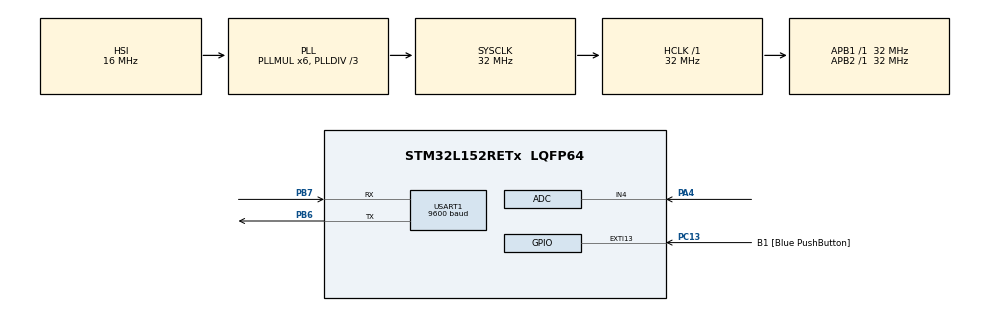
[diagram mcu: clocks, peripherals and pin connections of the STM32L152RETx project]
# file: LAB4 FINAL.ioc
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ADC.Channel-0\#ChannelRegularConversion=ADC_CHANNEL_4
ADC.NbrOfConversionFlag=1
ADC.Rank-0\#ChannelRegularConversion=1
ADC.SamplingTime-0\#ChannelRegularConversion=ADC_SAMPLETIME_4CYCLES
Mcu.Family=STM32L1
Mcu.Name=STM32L152RETx
Mcu.Package=LQFP64
NVIC.PriorityGroup=NVIC_PRIORITYGROUP_0
NVIC.USART1_IRQn=true\:0\:0\:false\:false\:true\:true\:true\:true
PA13.GPIO_Label=TMS
PA13.Mode=Serial_Wire
PA13.Signal=SYS_JTMS-SWDIO
PA14.GPIO_Label=TCK
PA14.Mode=Serial_Wire
PA14.Signal=SYS_JTCK-SWCLK
PA4.Mode=IN4
PA4.Signal=ADC_IN4
PB3.GPIO_Label=SWO
PB3.Signal=SYS_JTDO-TRACESWO
PB6.Mode=Asynchronous
PB6.Signal=USART1_TX
PB7.Mode=Asynchronous
PB7.Signal=USART1_RX
PC13-WKUP2.GPIO_Label=B1 [Blue PushButton]
PC13-WKUP2.Signal=GPXTI13
PC14-OSC32_IN.Mode=LSE-External-Oscillator
PC14-OSC32_IN.Signal=RCC_OSC32_IN
PC15-OSC32_OUT.Mode=LSE-External-Oscillator
PC15-OSC32_OUT.Signal=RCC_OSC32_OUT
PH0-OSC_IN.Mode=HSE-External-Clock-Source
PH0-OSC_IN.Signal=RCC_OSC_IN
PH1-OSC_OUT.Signal=RCC_OSC_OUT
ProjectManager.HeapSize=0x200
ProjectManager.StackSize=0x400
ProjectManager.TargetToolchain=STM32CubeIDE
RCC.48MHZClocksFreq_Value=48000000
RCC.AHBFreq_Value=32000000
RCC.APB1Freq_Value=32000000
RCC.APB1TimFreq_Value=32000000
RCC.APB2Freq_Value=32000000
RCC.APB2TimFreq_Value=32000000
RCC.HCLKFreq_Value=32000000
RCC.HSE_VALUE=8000000
RCC.HSI_VALUE=16000000
RCC.MSI_VALUE=2097000
RCC.PLLDIV=RCC_PLL_DIV3
RCC.PLLMUL=RCC_PLL_MUL6
RCC.RTCClockSelectionVirtual=RCC_RTCCLKSOURCE_LSE
RCC.SYSCLKFreq_VALUE=32000000
RCC.SYSCLKSource=RCC_SYSCLKSOURCE_PLLCLK
RCC.USBOutput=48000000
RCC.VCOOutputFreq_Value=96000000
USART1.BaudRate=9600
USART1.VirtualMode=VM_ASYNC
VP_TIM2_VS_ClockSourceINT.Mode=Internal
VP_TIM3_VS_ClockSourceINT.Mode=Internal
VP_TIM4_VS_ClockSourceINT.Mode=Internal
board=NUCLEO-L152RE

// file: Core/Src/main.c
/* USER CODE BEGIN Header */
/**
  ******************************************************************************
  * @file           : main.c
  * @brief          : Main program body
  ******************************************************************************
  * @attention
  *
  * Copyright (c) 2023 STMicroelectronics.
  * All rights reserved.
  *
  * This software is licensed under terms that can be found in the LICENSE file
  * in the root directory of this software component.
  * If no LICENSE file comes with this software, it is provided AS-IS.
  *
  ******************************************************************************
  */
/* USER CODE END Header */
#include "main.h"

/* USER CODE BEGIN PD */
#define TRIGGERPULSE 15               // 15 us trigger pulse
#define HALFSECONDPERIOD 500          // 0.5 seconds for main loop
#define NINETYDEGREETURN 480          // time it takes to turn 90º
#define HUNDREDEIGHTYDEGREETURN 970   // time it takes to turn 180º
/* USER CODE END PD */

ADC_HandleTypeDef hadc;

TIM_HandleTypeDef htim2;
TIM_HandleTypeDef htim3;
TIM_HandleTypeDef htim4;

UART_HandleTypeDef huart1;

/* USER CODE BEGIN PV */
unsigned short distance = 0;                // Distance in centimeters
unsigned short echoStartTime = 0;           // Time at which the echo is triggered
int echoTotalTime = 0;                      // Total time received by echo
unsigned short cautionMode = 0;             // The robot will decide whether to stop, continue... depending on this variable
unsigned short maxSpeed = 50;               // maxSpeed ~= DC. Maximum speed that the robot can take
unsigned short turnMode = 1;                // When the robot starts the turn sequence (<10cm): At which point the robot is
unsigned short prevTurnMode = 0;            // Also needed for the turning sequence
unsigned short tim3Time = 0;                // Stores the counter at the time the turn sequence starts

//UART VARIABLES
unsigned short globalMode = 1;              // Decide the functionality of the robot depending on the pressed button
uint8_t received[7];                        // Stores the received bit
uint8_t lineBreak[7];                       // Used to change line when transmitting
uint8_t answer[7] = {0,0,0,0,0,0,0};        // Stores the answer sent by the robot
uint8_t choose[7] = {67, 104, 111, 111, 115, 101, 32};  // Set of characters to store the sentence:
uint8_t aMode[7] = {97, 32, 109, 111, 100, 101, 32};    // Choose a mode:
/* USER CODE END PV */

void SystemClock_Config(void);
static void MX_GPIO_Init(void);
static void MX_TIM2_Init(void);
static void MX_TIM3_Init(void);
static void MX_TIM4_Init(void);
static void MX_ADC_Init(void);
static void MX_USART1_UART_Init(void);
/* USER CODE BEGIN PFP */
// Defining the functions

// Movement functions
void goForward(void);
void goBackward(void);
void forwardBrake(void);
void Stop(void);
void goRight(void);
void goLeft(void);

// Functions for transmitting
void lineBreakFunction(void);
void chooseAMode(void);
/* USER CODE END PFP */

/* USER CODE BEGIN 0 */
void lineBreakFunction(void) {      // This functions send a 10 and a 13 in ASCII
  lineBreak[0] = 10;                // 10 turns for change the current line to the lower one
  HAL_UART_Transmit(&huart1, lineBreak, 1, 10000);
  lineBreak[0] = 13;                // 13 turns for going to the beginning of the sentence
  HAL_UART_Transmit(&huart1, lineBreak, 1, 10000);
}
void chooseAMode(void) {            // The function is called when we want to transmit the sentence: "Choose a mode"
  HAL_UART_Transmit(&huart1, choose, 7, 10000);
  HAL_UART_Transmit(&huart1, aMode, 7, 10000);
}

void goForward(void) {              // Contains the necessary changes in the registers to make the robot go forward
  GPIOA->BSRR = (1 << 11)<<16;      // PA11 reset
  GPIOA->BSRR = (1 << 12)<<16;      // PA12 reset
  TIM4->CCR3 = (maxSpeed-(maxSpeed/10)); // DC set to max Speed: (50-99) => (50%-100%)
  TIM4->CCR4 = maxSpeed; // // DC set to max Speed: (50-99) => (50%-100%)
}

void goBackward(void) {             // Contains the necessary changes in the registers to make the robot go backward
  GPIOA->BSRR = (1 << 11);          // PA11 set
  GPIOA->BSRR = (1 << 12);          // PA12 set
  TIM4->CCR3 = 99-(maxSpeed-(maxSpeed/10)); // DC set to the max value the DC can take - max Speed: (0-50) => (0%-50%)
  TIM4->CCR4 = 99-maxSpeed; // DC set to the max value the DC can take - max Speed: (0-50) => (0%-50%)
}

void forwardBrake(void) {           // Contains the necessary changes in the registers to make the robot go backward
  GPIOA->BSRR = (1 << 11)<<16;      // PA11 reset
  GPIOA->BSRR = (1 << 12)<<16;      // PA12 reset
  TIM4->CCR3 = (((maxSpeed-maxSpeed/10)-35)*(distance-10)/10)+35; // Decreases as the distance also decreases
  TIM4->CCR4 = ((maxSpeed-35)*(distance-10)/10)+35;               // Decreases as the distance also decreases
}

void Stop(void) {
  GPIOA->BSRR = (1 << 11)<<16;  // PA11 reset
  GPIOA->BSRR = (1 << 12)<<16;  // PA12 reset
  TIM4->CCR3 = 0; // DC initialize to 0 (0%)
  TIM4->CCR4 = 0; // DC initialize to 0 (0%)
}

void goRight(void) {
  GPIOA->BSRR = (1 << 11);      // PA11 set
  GPIOA->BSRR = (1 << 12)<<16;  // PA12 reset
  TIM4->CCR3 = 0;               // DC initialize to 0 (0%)
  TIM4->CCR4 = 99;              // DC set to the maximum
}

void goLeft(void) {
  GPIOA->BSRR = (1 << 11)<<16;  // PA11 reset
  GPIOA->BSRR = (1 << 12);      // PA12 set
  TIM4->CCR3 = 99;              // DC set to the maximum
  TIM4->CCR4 = 0;               // DC initialize to 0 (0%)
}

void ADC1_IRQHandler(void) {
  if((ADC1->SR & (1 << 1)) != 0) {    // ADC EOC
    maxSpeed = (ADC1->DR) * (99 - 50) / (4095) + 50;  // Stores the value of the ADC: (0-4095) into maxSpeed: (50-99)
  }
  ADC1->SR = 0;     // Clear the flags
}

void TIM3_IRQHandler(void) {
  if((TIM3->SR & 0x0002) != 0) {      // TIM3 Ch1 flag
    TIM3->CCR1 += HALFSECONDPERIOD;   // Update the CCR with 0.5 seconds more

    // LAUNCH ADC
    ADC1->CR2 |= 0x40000000;          //  = 1 -> Start conversion

    // LAUNCH TRIGGER
    GPIOD->BSRR = (1 << 2);                 // Send a 1 to the trigger
    TIM2->CCR2 = TIM2->CNT + TRIGGERPULSE;  // Update counter to count 12us (15us just to have enough)
    TIM2->DIER |= (1 << 2);                 // Enable DIER Ch2

    if(globalMode == 1) {           // Decide functionality mode depending on the received BT bit
      Stop();
    }
    if(globalMode == 2) {
      goForward();
    }

    if(globalMode == 3) {
      goBackward();
    }

    if(globalMode == 4) {
      goRight();
    }

    if(globalMode == 5) {
      goLeft();
    }

    if(globalMode == 6) {         // AUTOMATIC MODE
      // DECIDE MODE
      if(cautionMode == 0) {        // CASE DISTANCE < 10 centimeters
        if(turnMode == 0) {         // Case it has finished turning or it is not turning at all
          GPIOA->BSRR = (1 << 1);   // Continuous buzzer
          Stop();                   // Stop the movement
          TIM2->DIER &= ~(1 << 1);  // Disable Echo Ch1 DIER (Echo is not detecting)
          TIM3->DIER |= (1 << 2);   // Enable TIM3 Ch2 to start turning in one direction
          TIM3->CCR2 = TIM3->CNT + HALFSECONDPERIOD;  // Update the counter to wait 0.5 seconds stopped
          turnMode = 1;             // Change the turnMode to start a turning sequence
        }
        else {
          GPIOA->BSRR = (1 << 1);   // Continuous buzzer
          Stop();                   // Stop the movement
        }
      }
      else if(cautionMode == 1) { // CASE DISTANCE >= 10cm && <= 20cm

        forwardBrake();             // Continue going forward but speed decreases as distance decreases

        if((GPIOA->ODR & (1 << 1)) != 0) {  // Intermittent sound, each 0.5 seconds:
          GPIOA->BSRR = (1 << 1)<<16;       // If the buzzer is on -> turn off
        }
        else {
          GPIOA->BSRR = (1 << 1);           // If the buzzer is off -> turn on
        }
      }
      else {                      // CASE DISTANCE > 20 centimeters
        GPIOA->BSRR = (1 << 1)<<16;     // Buzzer off
        goForward();                    // Go forward at maxSpeed

      }
    }
    received[0]=0;            // Clear the received USART bit
    TIM3->SR &= ~(0x0002);    // Clear the flags
  }

  if((TIM3->SR & 0x0004) != 0) {    // When the turning sequence starts (<10cm and 0.5 seconds have passed)

      if(prevTurnMode == 4) {       // Change the turning depending on the previous step
        turnMode = 2;
      }
      else if(prevTurnMode == 2) {
        turnMode = 3;
      }
      else if(prevTurnMode == 3) {
        turnMode = 4;
      }
      prevTurnMode = turnMode;      // Update the previous turn mode
      tim3Time = TIM3->CNT;         // Store the counter value in order to make the robot turn only the time we want
      TIM3->DIER &= ~(1 << 2);      // Disables this channel
      TIM3->SR &= ~(0x0004);        // Clear the flags

  }
}

void TIM2_IRQHandler(void) {

  // TRIGGER (CHANNEL 2)
  if((TIM2->SR & 0x0004) != 0) {      // TIM2 CHANNEL  2 (Trigger when 15us have passed)
    GPIOD->BSRR = (1 << 2) << 16;     // Trigger -> 0   (Reset the trigger)
    TIM2->DIER &= ~(1 << 2);          // Disable DIER Ch2
    TIM2->SR &= ~(0x0004);            // Clear the flag
  }

  // ECHO (CHANNEL 1)
  if((TIM2->SR & 0x0002) != 0) {      // TIM2 CHANNEL  1  (Echo when receives the reply signal rising and falling edge)

    if((GPIOA->IDR&(1 << 5)) != 0) {  // Checks whether is the Echo is high (rising edge is received)
      echoStartTime = TIM2->CCR1;       // Store the time to calculate later the total time
    }
    else {                            // or low (falling edge is received)
      echoTotalTime = TIM2->CCR1 - echoStartTime;     // Calculate the time that has passed from the rising to the falling edge
      if(echoTotalTime < 0) echoTotalTime += 0xFFFF;  // Rearrange the variable if it turns to be negative
      distance = (echoTotalTime) / 90;                // Apply formula to calculate the distance
      // Decide buzzer Mode
      if(distance < 10) {     // Decide how the robot will work depending on the distance. If distance < 10:
        cautionMode = 0;      // Stop and start the sequence mode
        turnMode = 0;
        uint8_t answer[7] = {60, 32, 49, 48, 32, 99, 109};  // Transmit that there is an obstacle at less than 10cm
        HAL_UART_Transmit(&huart1, answer, 7, 10000);
        lineBreakFunction();
      }
      if(distance >= 10 && distance <= 20) {  // If distance is between 10cm and 20cm
        cautionMode = 1;      // Move forward reducing speed and reestablish the turning sequence
        prevTurnMode = 4;
        uint8_t answer[7] = {79, 98, 115, 116, 97, 99, 32}; // Transmit that there is an obstacle
        HAL_UART_Transmit(&huart1, answer, 7, 10000);
        uint8_t answer1[7] = {49, 48, 60, 120, 60, 50, 48}; // between 10 and 20 centimeters
        HAL_UART_Transmit(&huart1, answer1, 7, 10000);
        lineBreakFunction();
      }
      if(distance > 20) {   // IF distance is greater than 20:
        cautionMode = 2;    // Just move forward
      }
    }

    TIM2->SR &= ~(0x0002);            // Clear the flag
  }

}
/* USER CODE END 0 */

int main(void)
{

  /* MCU Configuration--------------------------------------------------------*/

  /* Reset of all peripherals, Initializes the Flash interface and the Systick. */
  HAL_Init();

  /* Configure the system clock */
  SystemClock_Config();

  /* Initialize all configured peripherals */
  MX_GPIO_Init();
  MX_TIM2_Init();
  MX_TIM3_Init();
  MX_TIM4_Init();
  MX_ADC_Init();
  MX_USART1_UART_Init();
  /* USER CODE BEGIN 2 */

  // CONFIG BUZZER GPIO
  GPIOA->MODER &= ~(1 << (1*2 +1));   // PA1 as Digital Output (01)
  GPIOA->MODER |= (1 << (1*2));

  // CONFIG TRIGGER GPIO
  GPIOD->MODER &= ~(1 << (2*2 +1));   // PD2 as Digital Output (01)
  GPIOD->MODER |= (1 << (2*2));

  // CONFIG ECHO GPIO
  GPIOA->MODER |= (1 << (5*2 +1));    // PA5 as AF (10)
  GPIOA->MODER &= ~(1 << (5*2));
  GPIOA->AFR[0] &= ~(0x00F00000);
  GPIOA->AFR[0] |= (1 << 5*4);        // Select the AF1 for PA5

  // MOTOR 1 CONFIG
  GPIOB->MODER |= (1 << (8*2 +1));    // PB8 as AF (10)
  GPIOB->MODER &= ~(1 << (8*2));
  GPIOB->AFR[1] |= (1 << (0*4 +1));     // PB8 as AF2 (linked to TIM4)
  GPIOA->MODER &= ~(1 << (11*2 +1));  // PA11 as Digital Output(01)
  GPIOA->MODER |= (1 << (11*2));

  // MOTOR 2 CONFIG
  GPIOB->MODER |= (1 << (9*2 +1));    // PB8 as AF (10)
  GPIOB->MODER &= ~(1 << (9*2));
  GPIOB->AFR[1] |= (1 << (1*4 +1));     // PB9 as AF2 (linked to TIM4)
  GPIOA->MODER &= ~(1 << (12*2 +1));  // PA12 as Digital Output(01)
  GPIOA->MODER |= (1 << (12*2));

  // POTENCIOMETER CONFIG
  GPIOA->MODER |= (1 << (4*2 +1));    // PA4 as analog (11)
  GPIOA->MODER |= (1 << (4*2));

  // ADC CONFIG
  ADC1->CR2 &= ~(0x00000001);   // ADC needs to be turned off before configuring it
  ADC1->CR1 |= 0x00000020;
  ADC1->CR2 |= 0x00000400;
  ADC1->SQR1 = 0x00000000;
  ADC1->SQR5 = 0x00000004;

  ADC1->CR2 |= 0x00000001;

  // TIM2 CONFIG (TRIGGER ECHO)
  // Select the internal clock
  TIM2->CR1 = 0x0000;     // ARPE = 0 (only for PWM); CEN = 0 (counter disabled for configuration)
  TIM2->CR2 = 0x0000;     // All zeros
  TIM2->SMCR = 0x0000;    // All zeros

  // Counter behavior setting
  TIM2->PSC = 31;               // freq_Counter = 32 MHz / 32 = 1 MHz -->> T_Counter = 1 us
  TIM2->CNT = 0;                // Initialize the counter at 0
  TIM2->ARR = 0xFFFF;           // Maximum value
  TIM2->CCR2 = TRIGGERPULSE;    // CCR2 = Trigger Pulse (~12us)

  // Setting IRQ or not
  TIM2->DIER &= ~(0xFF);
  TIM2->DIER |= (1 << 1);       // Enable IRQ for Channel 1 (CC1E)
  TIM2->DIER &= ~(1 << 2);      // Disable DIER Ch2

  // Output mode
  TIM2->CCMR1 &= ~(0xFFFF);   // Clear CCMR1 register
  TIM2->CCMR1 |= 0x0001;      // CC1S = 01 (TIC)
                              // CC2S = 00 (TOC)
                              // OC2PE = 0 (only for PWM)
                              // OC2M = 000 (No output)
  TIM2->CCER = 0x000b;        // CC1E = 1 (Enable capture)
                              // CC2E = 0 (Disable hardware output)
                              // CC1NP:CC1P = 11 (Both edges)

  // Counter enabling
  TIM2->CR1 |= 0x0001;        // CEN = 1 -->> Start counter
  TIM2->EGR |= 0x0001;        // UG = 1 -->> Update all registers
  TIM2->SR = 0x0000;          // Clear counter flags

  // TIM3 CONFIG (PPal Loop)
  // Select the internal clock
  TIM3->CR1 = 0x0000;         // ARPE = 0 (only for PWM); CEN = 0 (counter disabled for configuration)
  TIM3->CR2 = 0x0000;         // All zeros
  TIM3->SMCR = 0x0000;        // All zeros

  //Counter behavior setting
  TIM3->PSC = 31999;              // freq_Counter = 32 MHz / 32000 = 1 kHz -->> T_Counter = 1 ms -->> CCR = 500
  TIM3->CNT = 0;                  // Initialize the counter at 0
  TIM3->ARR = 0xFFFF;             // Set to the maximum
  TIM3->CCR1 = HALFSECONDPERIOD;  // CH1 CCR1 = 500

  // Setting IRQ or not
  TIM3->DIER |= (1 << 1);    // We enable an IRQ in channel 1
  TIM3->DIER &= ~(1 << 2);

  // Output mode
  TIM3->CCMR1 &= ~(0xFFFF);   // Clear CCMR1 register
  TIM3->CCMR1 = 0x0000;       // CC1S = 0 (TOC); OC1M = 000 (no output); OC1PE = 0 (No preload)
  TIM3->CCER = 0x0000;        // CC1NP = 0; CC1P = 0; CC1E = 0 (Disable output)

  // Counter enabling
  TIM3->CR1 |= 0x0001;        // CEN = 1 -->> Start counter
  TIM3->EGR |= 0x0001;        // UG = 1 -->> Update all registers
  TIM3->SR = 0x0000;          // Clear counter flags

  // TIM4 CONFIG
  // Internal clock selection: CR1, CR2, SMRC
  TIM4->CR1 = 0x0080; // ARPE = 1 -> Is PWM; CEN = 0; Counter OFF
  TIM4->CR2 = 0x0000; // Always 0 in this course
  TIM4->SMCR = 0x0000; // Always 0 in this course

  // Counter setting: PSC, CNT, ARR and CCRx
  TIM4->PSC = 319; // Pre-scaler=320 -> f_counter=32000000/320 = 100000 steps/second -> T = 10us
  TIM4->CNT = 0; // Initialize counter to 0
  TIM4->ARR = 99; // PWM Frequency to 1000 Hz and 100 steps
  TIM4->CCR3 = maxSpeed; // DC initialize to 99 (50%)
  TIM4->CCR4 = maxSpeed; // DC initialize to 99 (50%)

  // Select, or not, IRQ: DIER
  TIM4->DIER = 0x0000; // No IRQ when counting is finished -> CCyIE = 0

  // Output mode
  TIM4->CCMR1 &= ~(0xFFFF); // Clear CCMR1
  TIM4->CCMR2 |= (0x6868);     // CCyS = 0 (TOC, PWM)
                            // OCyM = 110 (PWM starting in 1)
                            // OCyPE = 1 (with preload)
  TIM4->CCER |= 0x1100;      // CCyP = 0 (always in PWM)
                            // CCyE = 1 (hardware output activated)

  // Counter enabling
  TIM4->CR1 |= 0x0001;  // CEN = 1 -> Start counter
  TIM4->EGR |= 0x0001;  // UG = 1 -> Generate update event
  TIM4->SR = 0;         // Counter flags cleared

  // Enabling ADC1_IRQ at NVIC
  NVIC->ISER[0] |= (1 << 18);

  // Enabling TIM2_IRQ at NVIC
  NVIC->ISER[0] |= (1 << 28);

  // Enabling TIM3_IRQ at NVIC
  NVIC->ISER[0] |= (1 << 29);

  // Wait for the first received bit
  HAL_UART_Receive_IT(&huart1, received, 1);

  /* USER CODE END 2 */

  /* Infinite loop */
  /* USER CODE BEGIN WHILE */
  while (1)
  {

      if(turnMode == 2) {
        uint8_t answer[7] = {82, 105, 103, 104, 116, 0, 0}; // Transmit that it is going right
        HAL_UART_Transmit(&huart1, answer, 7, 10000);
        lineBreakFunction();
        while(TIM3->CNT < tim3Time + NINETYDEGREETURN) {    // Turn right 90º
          goRight();
        }
        TIM2->DIER |= (1 << 1);  // Enable Echo Ch1 (Echo) to start detecting again
        turnMode = 1;
        cautionMode = 0;
      }
      else if(turnMode == 3){
        uint8_t answer[7] = {76, 101, 102, 116, 0, 0, 0};   // Transmit that it is going left
        HAL_UART_Transmit(&huart1, answer, 7, 10000);
        lineBreakFunction();
        while(TIM3->CNT < tim3Time + HUNDREDEIGHTYDEGREETURN) {   // Turn left 180º
          goLeft();
        }
        TIM2->DIER |= (1 << 1);  // Enable Echo Ch1 (Echo) to start detecting again
        turnMode = 1;
        cautionMode = 0;
      }
      else if(turnMode == 4){
        uint8_t answer[7] = {76, 101, 102, 116, 0, 0, 0};   // Transmit that it is going left
        HAL_UART_Transmit(&huart1, answer, 7, 10000);
        lineBreakFunction();
        while(TIM3->CNT < tim3Time + NINETYDEGREETURN) {  // Turn left 90º
          goLeft();
        }
        TIM2->DIER |= (1 << 1);  // Enable Echo Ch1 (Echo) to start detecting again
        turnMode = 1;
      }

    /* USER CODE END WHILE */

  }
}

void SystemClock_Config(void)
{
  RCC_OscInitTypeDef RCC_OscInitStruct = {0};
  RCC_ClkInitTypeDef RCC_ClkInitStruct = {0};

  /** Configure the main internal regulator output voltage
  */
  __HAL_PWR_VOLTAGESCALING_CONFIG(PWR_REGULATOR_VOLTAGE_SCALE1);

  /** Initializes the RCC Oscillators according to the specified parameters
  * in the RCC_OscInitTypeDef structure.
  */
  RCC_OscInitStruct.OscillatorType = RCC_OSCILLATORTYPE_HSI;
  RCC_OscInitStruct.HSIState = RCC_HSI_ON;
  RCC_OscInitStruct.HSICalibrationValue = RCC_HSICALIBRATION_DEFAULT;
  RCC_OscInitStruct.PLL.PLLState = RCC_PLL_ON;
  RCC_OscInitStruct.PLL.PLLSource = RCC_PLLSOURCE_HSI;
  RCC_OscInitStruct.PLL.PLLMUL = RCC_PLL_MUL6;
  RCC_OscInitStruct.PLL.PLLDIV = RCC_PLL_DIV3;
  if (HAL_RCC_OscConfig(&RCC_OscInitStruct) != HAL_OK)
  {
    Error_Handler();
  }

  /** Initializes the CPU, AHB and APB buses clocks
  */
  RCC_ClkInitStruct.ClockType = RCC_CLOCKTYPE_HCLK|RCC_CLOCKTYPE_SYSCLK
                              |RCC_CLOCKTYPE_PCLK1|RCC_CLOCKTYPE_PCLK2;
  RCC_ClkInitStruct.SYSCLKSource = RCC_SYSCLKSOURCE_PLLCLK;
  RCC_ClkInitStruct.AHBCLKDivider = RCC_SYSCLK_DIV1;
  RCC_ClkInitStruct.APB1CLKDivider = RCC_HCLK_DIV1;
  RCC_ClkInitStruct.APB2CLKDivider = RCC_HCLK_DIV1;

  if (HAL_RCC_ClockConfig(&RCC_ClkInitStruct, FLASH_LATENCY_1) != HAL_OK)
  {
    Error_Handler();
  }
}

static void MX_ADC_Init(void)
{

  ADC_ChannelConfTypeDef sConfig = {0};

  /** Configure the global features of the ADC (Clock, Resolution, Data Alignment and number of conversion)
  */
  hadc.Instance = ADC1;
  hadc.Init.ClockPrescaler = ADC_CLOCK_ASYNC_DIV1;
  hadc.Init.Resolution = ADC_RESOLUTION_12B;
  hadc.Init.DataAlign = ADC_DATAALIGN_RIGHT;
  hadc.Init.ScanConvMode = ADC_SCAN_DISABLE;
  hadc.Init.EOCSelection = ADC_EOC_SEQ_CONV;
  hadc.Init.LowPowerAutoWait = ADC_AUTOWAIT_DISABLE;
  hadc.Init.LowPowerAutoPowerOff = ADC_AUTOPOWEROFF_DISABLE;
  hadc.Init.ChannelsBank = ADC_CHANNELS_BANK_A;
  hadc.Init.ContinuousConvMode = DISABLE;
  hadc.Init.NbrOfConversion = 1;
  hadc.Init.DiscontinuousConvMode = DISABLE;
  hadc.Init.ExternalTrigConv = ADC_SOFTWARE_START;
  hadc.Init.ExternalTrigConvEdge = ADC_EXTERNALTRIGCONVEDGE_NONE;
  hadc.Init.DMAContinuousRequests = DISABLE;
  if (HAL_ADC_Init(&hadc) != HAL_OK)
  {
    Error_Handler();
  }

  /** Configure for the selected ADC regular channel its corresponding rank in the sequencer and its sample time.
  */
  sConfig.Channel = ADC_CHANNEL_4;
  sConfig.Rank = ADC_REGULAR_RANK_1;
  sConfig.SamplingTime = ADC_SAMPLETIME_4CYCLES;
  if (HAL_ADC_ConfigChannel(&hadc, &sConfig) != HAL_OK)
  {
    Error_Handler();
  }

}

static void MX_TIM2_Init(void)
{

  TIM_ClockConfigTypeDef sClockSourceConfig = {0};
  TIM_MasterConfigTypeDef sMasterConfig = {0};

  htim2.Instance = TIM2;
  htim2.Init.Prescaler = 0;
  htim2.Init.CounterMode = TIM_COUNTERMODE_UP;
  htim2.Init.Period = 65535;
  htim2.Init.ClockDivision = TIM_CLOCKDIVISION_DIV1;
  htim2.Init.AutoReloadPreload = TIM_AUTORELOAD_PRELOAD_DISABLE;
  if (HAL_TIM_Base_Init(&htim2) != HAL_OK)
  {
    Error_Handler();
  }
  sClockSourceConfig.ClockSource = TIM_CLOCKSOURCE_INTERNAL;
  if (HAL_TIM_ConfigClockSource(&htim2, &sClockSourceConfig) != HAL_OK)
  {
    Error_Handler();
  }
  sMasterConfig.MasterOutputTrigger = TIM_TRGO_RESET;
  sMasterConfig.MasterSlaveMode = TIM_MASTERSLAVEMODE_DISABLE;
  if (HAL_TIMEx_MasterConfigSynchronization(&htim2, &sMasterConfig) != HAL_OK)
  {
    Error_Handler();
  }

}

static void MX_TIM3_Init(void)
{

  TIM_ClockConfigTypeDef sClockSourceConfig = {0};
  TIM_MasterConfigTypeDef sMasterConfig = {0};

  htim3.Instance = TIM3;
  htim3.Init.Prescaler = 0;
  htim3.Init.CounterMode = TIM_COUNTERMODE_UP;
  htim3.Init.Period = 65535;
  htim3.Init.ClockDivision = TIM_CLOCKDIVISION_DIV1;
  htim3.Init.AutoReloadPreload = TIM_AUTORELOAD_PRELOAD_DISABLE;
  if (HAL_TIM_Base_Init(&htim3) != HAL_OK)
  {
    Error_Handler();
  }
  sClockSourceConfig.ClockSource = TIM_CLOCKSOURCE_INTERNAL;
  if (HAL_TIM_ConfigClockSource(&htim3, &sClockSourceConfig) != HAL_OK)
  {
    Error_Handler();
  }
  sMasterConfig.MasterOutputTrigger = TIM_TRGO_RESET;
  sMasterConfig.MasterSlaveMode = TIM_MASTERSLAVEMODE_DISABLE;
  if (HAL_TIMEx_MasterConfigSynchronization(&htim3, &sMasterConfig) != HAL_OK)
  {
    Error_Handler();
  }

}

static void MX_TIM4_Init(void)
{

  TIM_ClockConfigTypeDef sClockSourceConfig = {0};
  TIM_MasterConfigTypeDef sMasterConfig = {0};

  htim4.Instance = TIM4;
  htim4.Init.Prescaler = 0;
  htim4.Init.CounterMode = TIM_COUNTERMODE_UP;
  htim4.Init.Period = 65535;
  htim4.Init.ClockDivision = TIM_CLOCKDIVISION_DIV1;
  htim4.Init.AutoReloadPreload = TIM_AUTORELOAD_PRELOAD_DISABLE;
  if (HAL_TIM_Base_Init(&htim4) != HAL_OK)
  {
    Error_Handler();
  }
  sClockSourceConfig.ClockSource = TIM_CLOCKSOURCE_INTERNAL;
  if (HAL_TIM_ConfigClockSource(&htim4, &sClockSourceConfig) != HAL_OK)
  {
    Error_Handler();
  }
  sMasterConfig.MasterOutputTrigger = TIM_TRGO_RESET;
  sMasterConfig.MasterSlaveMode = TIM_MASTERSLAVEMODE_DISABLE;
  if (HAL_TIMEx_MasterConfigSynchronization(&htim4, &sMasterConfig) != HAL_OK)
  {
    Error_Handler();
  }

}

static void MX_USART1_UART_Init(void)
{

  huart1.Instance = USART1;
  huart1.Init.BaudRate = 9600;
  huart1.Init.WordLength = UART_WORDLENGTH_8B;
  huart1.Init.StopBits = UART_STOPBITS_1;
  huart1.Init.Parity = UART_PARITY_NONE;
  huart1.Init.Mode = UART_MODE_TX_RX;
  huart1.Init.HwFlowCtl = UART_HWCONTROL_NONE;
  huart1.Init.OverSampling = UART_OVERSAMPLING_16;
  if (HAL_UART_Init(&huart1) != HAL_OK)
  {
    Error_Handler();
  }

}

static void MX_GPIO_Init(void)
{
  GPIO_InitTypeDef GPIO_InitStruct = {0};

  /* GPIO Ports Clock Enable */
  __HAL_RCC_GPIOC_CLK_ENABLE();
  __HAL_RCC_GPIOH_CLK_ENABLE();
  __HAL_RCC_GPIOA_CLK_ENABLE();
  __HAL_RCC_GPIOB_CLK_ENABLE();

  /*Configure GPIO pin : B1_Pin */
  GPIO_InitStruct.Pin = B1_Pin;
  GPIO_InitStruct.Mode = GPIO_MODE_IT_RISING;
  GPIO_InitStruct.Pull = GPIO_NOPULL;
  HAL_GPIO_Init(B1_GPIO_Port, &GPIO_InitStruct);

}

/* USER CODE BEGIN 4 */
void HAL_UART_RxCpltCallback(UART_HandleTypeDef *huart)
{
  HAL_UART_Receive_IT(huart, received, 1); // Rx is activated again to store the received bit in received
  if(received[0] != '1' && received[0] != '2' && received[0] != '3' && received[0] != '4' && received[0] != '5' && received[0] != '6') {
    uint8_t answer[7] = {69, 114, 114, 111, 114,0,0}; // Error message is sent if the bit is not what we are expecting
    lineBreakFunction();
    HAL_UART_Transmit(&huart1, answer, 7, 10000);
  }
  else {    // The bit received is what we expexted and we change the variable globalMode depending on it
    if(received[0] == '1') {   // A 1 is received -> STOP
      globalMode = 1;
      uint8_t answer[7] = {83, 116, 111, 112, 112, 101, 100};
      lineBreakFunction();
      HAL_UART_Transmit(&huart1, answer, 7, 10000);
    }
    if(received[0] == '2') {   // A 2 is received -> FORWARD
      globalMode = 2;
      uint8_t answer[7] = {70, 111, 114, 119, 97, 114, 100};
      lineBreakFunction();
      HAL_UART_Transmit(&huart1, answer, 7, 10000);
    }
    if(received[0] == '3') {   // A 3 is received -> BACK
      globalMode = 3;
      uint8_t answer[7] = {66, 97, 99, 107, 0, 0, 0};
      lineBreakFunction();
      HAL_UART_Transmit(&huart1, answer, 7, 10000);
    }
    if(received[0] == '4') {   // A 4 is received -> RIGHT
      globalMode = 4;
      uint8_t answer[7] = {82, 105, 103, 104, 116, 0, 0};
      lineBreakFunction();
      HAL_UART_Transmit(&huart1, answer, 7, 10000);
    }
    if(received[0] == '5') {   // A 5 is received -> LEFT
      globalMode = 5;
      uint8_t answer[7] = {76, 101, 102, 116, 0, 0, 0};
      lineBreakFunction();
      HAL_UART_Transmit(&huart1, answer, 7, 10000);
    }
    if(received[0] == '6') {   // A 6 is received -> AUTOMATIC
      globalMode = 6;
      uint8_t answer[7] = {65, 117, 116, 111, 110, 111, 109};
      lineBreakFunction();
      HAL_UART_Transmit(&huart1, answer, 7, 10000);
    }
  }
  lineBreakFunction();
  chooseAMode();
}
/* USER CODE END 4 */

void Error_Handler(void)
{
  __disable_irq();
  while (1)
  {
  }
}
